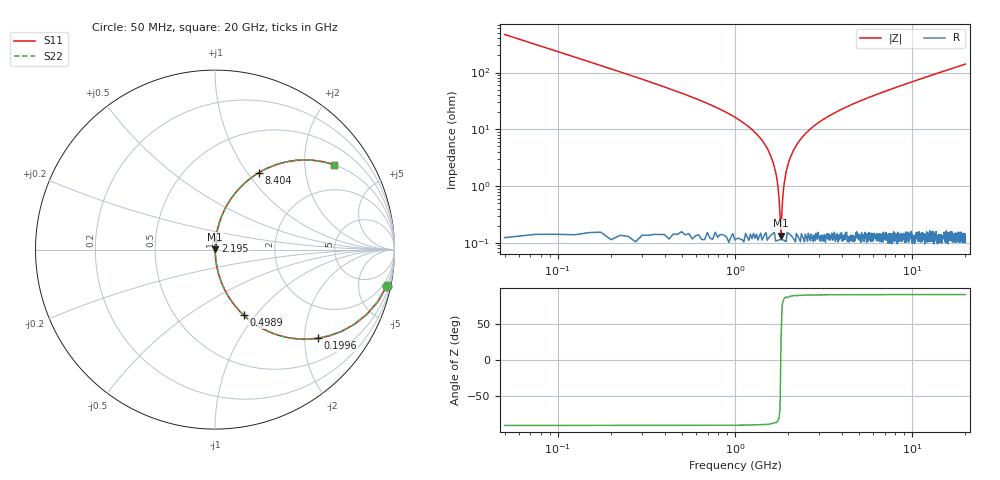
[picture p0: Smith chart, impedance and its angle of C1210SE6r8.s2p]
! AVX Thin Film Operation		Date: April 2012
! Description: Accu-P® Series, Thin Film, SMD, RF Capacitor
! Part Number: 12101J6R8BBTTR
!	100	MHz	-	20.05	GHz
!	Serial	Measurements
#	MHZ	S	MA	R	50
!	S11	S21	S12	S22
!	dB	Phase	dB	Phase	dB	Phase	dB	Phase
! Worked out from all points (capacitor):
!   801 points, 50 MHz to 20 GHz, reference 50 ohm
!   read as one part in series: C = 6.8 pF near 149.8 MHz
!   lowest |Z| = 134 mohm at 1.821 GHz (marker M1)
!   series resonance near 1.816 GHz, so ESL is about 1.1 nH
!   S11 on the Smith chart (normalised r, x): 50 MHz: 1.00, -9.36; 199.6 MHz: 1.00, -2.32; 498.9 MHz: 1.00, -0.87; 2.195 GHz: 1.00, +0.10; 8.404 GHz: 1.00, +1.14; 20 GHz: 1.00, +2.82
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50  0.978 -12.1  0.209 77.9  0.209 77.9  0.978 -12.1
199.625  0.757 -40.8  0.653 49.2  0.653 49.2  0.757 -40.8
349.25  0.542 -57.1  0.839 32.8  0.839 32.8  0.542 -57.1
498.875  0.397 -66.4  0.916 23.4  0.916 23.4  0.397 -66.4
823.063  0.22 -77.0  0.974 12.7  0.974 12.7  0.22 -77.0
1446.5  0.059 -85.4  0.997 3.4  0.997 3.4  0.059 -85.4
1621.063  0.029 -85.8  0.998 1.7  0.998 1.7  0.029 -85.8
1745.75  0.01 -82.2  0.999 0.6  0.999 0.6  0.01 -82.2
1820.563  0.001457 28.6  0.999 -0.0  0.999 -0.0  0.001457 28.6
1895.375  0.011 82.8  0.999 -0.6  0.999 -0.6  0.011 82.8
1970.188  0.021 85.3  0.998 -1.2  0.998 -1.2  0.021 85.3
2020.063  0.028 85.8  0.998 -1.6  0.998 -1.6  0.028 85.8
2194.625  0.049 85.7  0.998 -2.8  0.998 -2.8  0.049 85.7
2643.5  0.099 83.6  0.994 -5.7  0.994 -5.7  0.099 83.6
3391.625  0.169 79.8  0.984 -9.7  0.984 -9.7  0.169 79.8
4738.25  0.276 73.7  0.96 -16.0  0.96 -16.0  0.276 73.7
6708.313  0.403 66.0  0.914 -23.8  0.914 -23.8  0.403 66.0
8404.063  0.494 60.3  0.868 -29.6  0.868 -29.6  0.494 60.3
10025  0.567 55.4  0.823 -34.5  0.823 -34.5  0.567 55.4
13366.62  0.681 47.0  0.731 -42.9  0.731 -42.9  0.681 47.0
16683.31  0.76 40.5  0.649 -49.5  0.649 -49.5  0.76 40.5
20000  0.815 35.4  0.579 -54.6  0.579 -54.6  0.815 35.4
